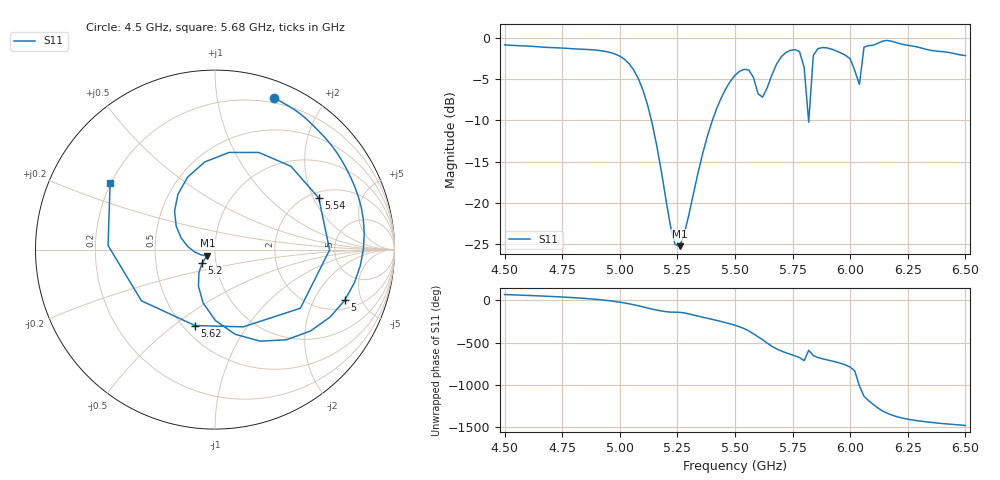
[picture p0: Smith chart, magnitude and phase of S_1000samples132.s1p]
! TOUCHSTONE file generated by CST MICROWAVE STUDIO
! Date and time: Thu Oct 27 02:43:14 2022
! Project name: L.cst
! Parameters = {Di=1.27; Epsilon_r=1.56; InnerDiameter=1.27; Length=2; Lf=10; Lg=60; OuterConductorThickness=0.2921; OuterDiameter=3.6; Wf=3; Wp=41.2; de=1.5; df=6.8; g=0.8; gx=2.95347; gy=1.53997; h=2.34; hf=1.524; px=10.094; py=14.6753; w=9.7; wx=7.14054; wy=13.1353}
! Header version: 2018
! Port assignment regex: !\s*Touchstone port\s*([0-9]+)\s*=\s*(CST MWS port|CST DS port)\s*([0-9]+|Zmin|Zmax)\s*\(\"(.*)\"\)(\s*mode\s*([0-9]+))?.*
! Touchstone port assignment:
! Touchstone port 1 = CST MWS port 1 ("")
# GHz S DB R 50
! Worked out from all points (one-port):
!   101 points, 4.5 GHz to 6.5 GHz, reference 50 ohm
!   lowest |S11| = -25.3 dB at 5.26 GHz (marker M1), VSWR 1.12, Z = 45.8 - j3.13 ohm
!   |S11| at or under -10 dB: 5.137 GHz to 5.402 GHz (264.6 MHz wide, 5.02 % of centre); 5.819353 GHz to 5.82053 GHz (1.176 MHz wide, 0.0202 % of centre)
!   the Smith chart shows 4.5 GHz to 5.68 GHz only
!   S11 on the Smith chart (normalised r, x): 4.5 GHz: 0.15, +1.45; 5 GHz: 2.54, -3.60; 5.2 GHz: 0.86, -0.13; 5.54 GHz: 2.24, +2.21; 5.62 GHz: 0.57, -0.60; 5.68 GHz: 0.20, +0.28
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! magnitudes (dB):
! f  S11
! 4.5 GHz  -0.8
! 4.76 GHz  -1.2
! 5 GHz  -2.2
! 5.06 GHz  -3.9
! 5.1 GHz  -6.3
! 5.14 GHz  -10.3
! 5.2 GHz  -19.6
! 5.24 GHz  -25.1
! 5.26 GHz  -25.3
! 5.4 GHz  -10.1
! 5.5 GHz  -4.5
! 5.54 GHz  -3.8
! 5.56 GHz  -3.9
! 5.6 GHz  -6.8
! 5.62 GHz  -7.2
! 5.68 GHz  -3.2
! 5.76 GHz  -1.4
! 5.78 GHz  -1.6
! 5.8 GHz  -3.6
! 5.82 GHz  -10.2
! 5.84 GHz  -2.1
! 5.9 GHz  -1.2
! 6 GHz  -2.5
! 6.04 GHz  -5.6
! 6.06 GHz  -1.1
! 6.16 GHz  -0.3
! 6.26 GHz  -0.9
! 6.5 GHz  -2.1
